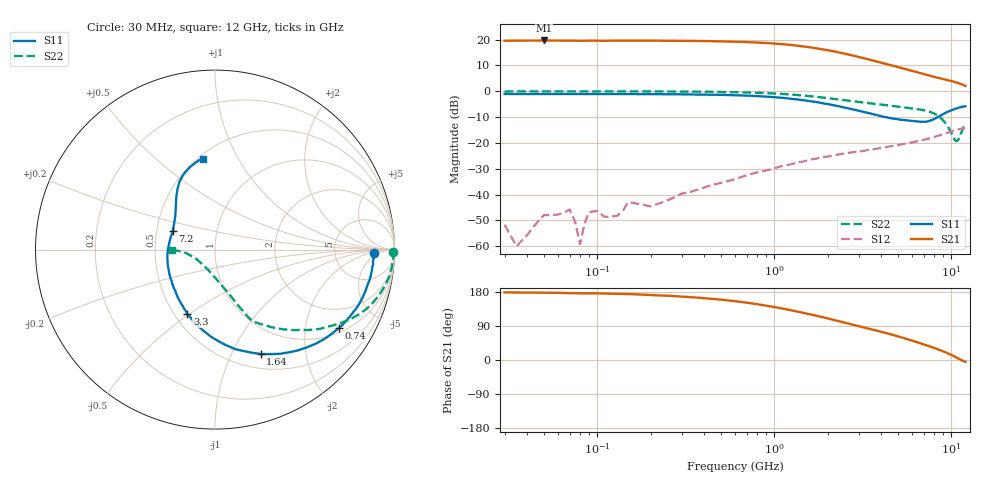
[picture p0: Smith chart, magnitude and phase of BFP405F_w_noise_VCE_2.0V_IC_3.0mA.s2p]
! Infineon Technologies  Discrete & RF Semiconductors
! BFP405F
! VCE =  2.0 V,  IC =  3.0 mA
! Common Emitter S-Parameters:  Nov 2015
# GHz  S  MA  R  50
!  f  S11  S21  S12  S22
! GHz  MAG  ANG  MAG  ANG  MAG  ANG  MAG  ANG
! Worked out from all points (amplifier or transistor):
!   239 points, 30 MHz to 12 GHz, reference 50 ohm
!   highest |S21| = 19.7 dB at 50 MHz (marker M1)
!   |S21| within 3 dB of that: start of sweep to 1.713 GHz
!   unconditionally stable (mu >= 1): 3.502 GHz to end of sweep
!   at 300 MHz: K = 0.08, MSG = 29.6 dB, |S12| = -39.7 dB
!   at 1.88 GHz: K = 0.50, MSG = 20.9 dB, |S12| = -25.5 dB
!   at 12 GHz: K = 1.56, MAG = 3.8 dB, |S12| = -14.3 dB
!   lowest NFmin = 1.11 dB at 450 MHz
!   S11 on the Smith chart (normalised r, x): 30 MHz: 16, -3; 740 MHz: 1.16, -3.04; 1.64 GHz: 0.67, -1.30; 3.3 GHz: 0.58, -0.49; 7.2 GHz: 0.61, +0.13; 12 GHz: 0.53, +0.72
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0.03  0.8844 -1.4  9.517 178.3  0.0026 -176.7  0.9901 -0.8
0.035  0.8837 -1.5  9.526 178.2  0.001 145.3  0.9923 -0.9
0.05  0.8824 -2.8  9.634 177.4  0.004 82.2  0.9952 -0.9
0.07  0.886 -3.2  9.561 176.4  0.0051 77.7  0.9955 -1.5
0.08  0.8837 -3.7  9.505 176.0  0.0011 116.1  0.9941 -1.7
0.085  0.8833 -3.9  9.533 176.1  0.0028 87.6  0.9939 -1.9
0.09  0.8829 -4.1  9.562 176.1  0.0046 81.0  0.9938 -2.2
0.125  0.8837 -5.6  9.524 174.8  0.0038 85.4  0.9948 -2.8
0.145  0.8818 -6.6  9.557 174.3  0.006 97.4  0.9939 -3.2
0.24  0.8781 -10.8  9.503 169.9  0.0073 81.7  0.9905 -5.5
0.4  0.8648 -17.9  9.407 163.3  0.0136 82.9  0.9817 -9.0
0.6  0.8383 -26.5  9.121 155.1  0.0198 79.6  0.9606 -13.4
0.74  0.8169 -32.4  8.904 149.7  0.025 76.7  0.9441 -16.2
0.92  0.784 -39.8  8.566 142.8  0.0298 72.8  0.919 -19.9
1.2  0.7264 -50.7  7.975 132.8  0.0375 67.8  0.8727 -24.8
1.64  0.6341 -66.4  6.989 119.3  0.0482 61.4  0.7969 -31.5
2.2  0.5309 -84.3  5.87 104.8  0.0574 54.8  0.7096 -38.8
3.3  0.3901 -113.2  4.258 84.4  0.0715 48.5  0.5951 -48.4
4.5  0.3045 -141.6  3.227 68.3  0.0855 45.2  0.5279 -54.6
7.2  0.2577 156.5  2.09 39.1  0.118 39.8  0.4181 -63.9
10.6  0.4612 111.2  1.494 7.5  0.1775 27.2  0.1085 -125.0
12  0.5119 97.8  1.269 -5.0  0.1934 20.3  0.2387 -179.7
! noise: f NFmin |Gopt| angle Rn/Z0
0.45  1.11  0.5  6  0.37
0.9  1.12  0.47  14  0.41
1.5  1.21  0.44  20  0.35
1.9  1.25  0.42  27  0.35
2.4  1.43  0.39  37  0.36
3  1.5  0.37  47  0.33
3.5  1.54  0.36  57  0.31
4.5  1.72  0.3  73  0.26
5.5  1.97  0.19  88  0.16
